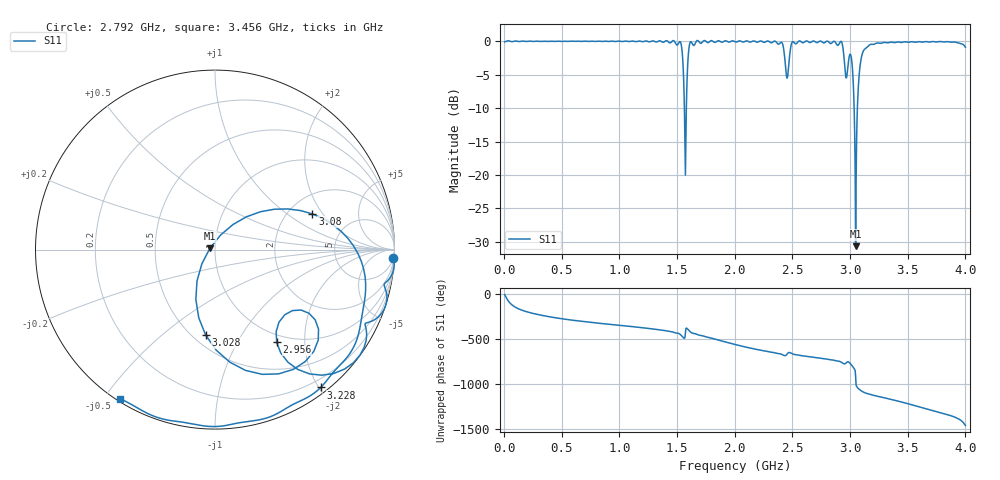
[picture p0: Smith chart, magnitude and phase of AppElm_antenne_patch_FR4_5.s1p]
! TOUCHSTONE file generated by CST MICROWAVE STUDIO
! Date and time: Tue Jun  7 21:31:17 2022
! Project name: AppElm_antenne_patch_FR4.cst
! Parameters = {L=45; W=58.5; e=0.035; h=1.6; lambda=0.190476; ls=120; w0=1.52; w1=0.533; ws=120; y0=20; y1=23.81}
! Header version: 2018
! Port assignment regex: !\s*Touchstone port\s*([0-9]+)\s*=\s*(CST MWS port|CST DS port)\s*([0-9]+|Zmin|Zmax)\s*\(\"(.*)\"\)(\s*mode\s*([0-9]+))?.*
! Touchstone port assignment:
! Touchstone port 1 = CST MWS port 1 ("")
# GHz S MA R 50
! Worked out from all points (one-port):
!   1000 points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, 4 MHz to 4 GHz, reference 50 ohm
!   lowest |S11| = -30.6 dB at 3.048 GHz (marker M1), VSWR 1.06, Z = 47.2 + j0.676 ohm
!   |S11| at or under -10 dB: 1.563 GHz to 1.58 GHz (17.05 MHz wide, 1.08 % of centre); 3.035 GHz to 3.063 GHz (28.27 MHz wide, 0.927 % of centre)
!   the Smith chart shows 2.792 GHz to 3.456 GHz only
!   S11 on the Smith chart (normalised r, x): 2.792 GHz: 4, -40; 2.956 GHz: 0.88, -1.48; 3.028 GHz: 0.58, -0.71; 3.08 GHz: 2.68, +1.60; 3.228 GHz: 0.08, -2.02; 3.456 GHz: 0.01, -0.55
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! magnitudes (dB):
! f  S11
! 4 MHz  -0.1
! 504 MHz  0.0
! 1.004 GHz  0.0
! 1.504 GHz  -0.5
! 1.536 GHz  -0.5
! 1.556 GHz  -5.4
! 1.572 GHz  -20.0
! 1.584 GHz  -7.1
! 1.604 GHz  -0.9
! 1.62 GHz  -0.1
! 2.004 GHz  -0.1
! 2.4 GHz  -0.2
! 2.452 GHz  -5.5
! 2.504 GHz  -0.1
! 2.792 GHz  0.0
! 2.92 GHz  0.0
! 2.956 GHz  -4.1
! 3.004 GHz  -2.0
! 3.02 GHz  -4.0
! 3.028 GHz  -6.4
! 3.048 GHz  -30.6
! 3.064 GHz  -9.6
! 3.08 GHz  -4.8
! 3.12 GHz  -1.3
! 3.228 GHz  -0.3
! 3.456 GHz  -0.1
! 3.504 GHz  -0.2
! 4 GHz  -0.9
